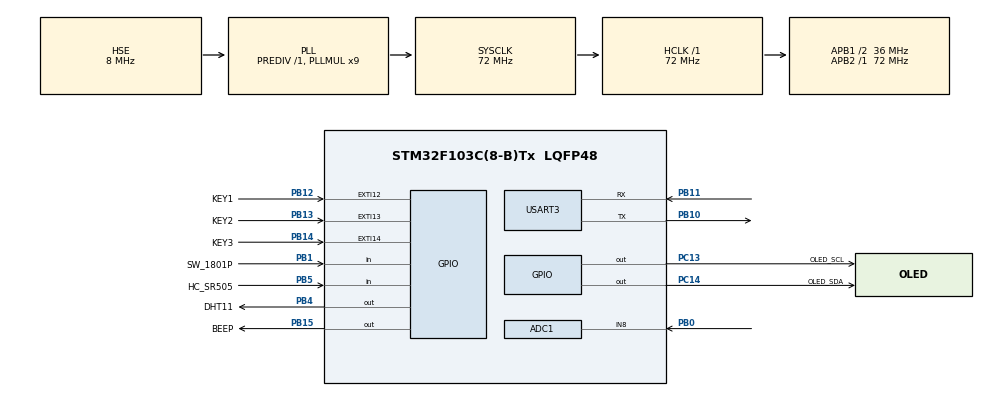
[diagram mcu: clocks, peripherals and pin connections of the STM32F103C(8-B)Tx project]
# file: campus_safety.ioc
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ADC1.Channel-0\#ChannelRegularConversion=ADC_CHANNEL_8
ADC1.ContinuousConvMode=ENABLE
ADC1.NbrOfConversionFlag=1
ADC1.Rank-0\#ChannelRegularConversion=1
ADC1.SamplingTime-0\#ChannelRegularConversion=ADC_SAMPLETIME_1CYCLE_5
ADC1.master=1
Mcu.Family=STM32F1
Mcu.Name=STM32F103C(8-B)Tx
Mcu.Package=LQFP48
NVIC.EXTI15_10_IRQn=true\:0\:0\:false\:false\:true\:true\:true\:true
NVIC.PriorityGroup=NVIC_PRIORITYGROUP_4
PA13.Mode=Serial_Wire
PA13.Signal=SYS_JTMS-SWDIO
PA14.Mode=Serial_Wire
PA14.Signal=SYS_JTCK-SWCLK
PB0.Signal=ADCx_IN8
PB1.GPIO_Label=SW_1801P
PB1.GPIO_Mode=GPIO_MODE_INPUT
PB1.GPIO_PuPd=GPIO_PULLUP
PB1.Signal=GPIO_Input
PB10.Mode=Asynchronous
PB10.Signal=USART3_TX
PB11.Mode=Asynchronous
PB11.Signal=USART3_RX
PB12.GPIO_Label=KEY1
PB12.GPIO_ModeDefaultEXTI=GPIO_MODE_IT_FALLING
PB12.GPIO_PuPd=GPIO_PULLUP
PB12.Signal=GPXTI12
PB13.GPIO_Label=KEY2
PB13.GPIO_ModeDefaultEXTI=GPIO_MODE_IT_FALLING
PB13.GPIO_PuPd=GPIO_PULLUP
PB13.Signal=GPXTI13
PB14.GPIO_Label=KEY3
PB14.GPIO_ModeDefaultEXTI=GPIO_MODE_IT_FALLING
PB14.GPIO_PuPd=GPIO_PULLUP
PB14.Signal=GPXTI14
PB15.GPIO_Label=BEEP
PB15.GPIO_PuPd=GPIO_PULLUP
PB15.GPIO_Speed=GPIO_SPEED_FREQ_HIGH
PB15.PinState=GPIO_PIN_SET
PB15.Signal=GPIO_Output
PB4.GPIO_Label=DHT11
PB4.GPIO_ModeDefaultOutputPP=GPIO_MODE_OUTPUT_PP
PB4.GPIO_PuPd=GPIO_PULLUP
PB4.GPIO_Speed=GPIO_SPEED_FREQ_HIGH
PB4.PinState=GPIO_PIN_SET
PB4.Signal=GPIO_Output
PB5.GPIO_Label=HC_SR505
PB5.GPIO_PuPd=GPIO_PULLDOWN
PB5.Signal=GPIO_Input
PC13-TAMPER-RTC.GPIO_Label=OLED_SCL
PC13-TAMPER-RTC.GPIO_PuPd=GPIO_PULLUP
PC13-TAMPER-RTC.GPIO_Speed=GPIO_SPEED_FREQ_HIGH
PC13-TAMPER-RTC.PinState=GPIO_PIN_SET
PC13-TAMPER-RTC.Signal=GPIO_Output
PC14-OSC32_IN.GPIO_Label=OLED_SDA
PC14-OSC32_IN.GPIO_ModeDefaultOutputPP=GPIO_MODE_OUTPUT_PP
PC14-OSC32_IN.GPIO_PuPd=GPIO_PULLUP
PC14-OSC32_IN.GPIO_Speed=GPIO_SPEED_FREQ_HIGH
PC14-OSC32_IN.PinState=GPIO_PIN_SET
PC14-OSC32_IN.Signal=GPIO_Output
PD0-OSC_IN.Mode=HSE-External-Oscillator
PD0-OSC_IN.Signal=RCC_OSC_IN
PD1-OSC_OUT.Mode=HSE-External-Oscillator
PD1-OSC_OUT.Signal=RCC_OSC_OUT
ProjectManager.HeapSize=0x200
ProjectManager.StackSize=0x400
ProjectManager.TargetToolchain=MDK-ARM V5.32
RCC.ADCPresc=RCC_ADCPCLK2_DIV6
RCC.AHBFreq_Value=72000000
RCC.APB1CLKDivider=RCC_HCLK_DIV2
RCC.APB1Freq_Value=36000000
RCC.APB1TimFreq_Value=72000000
RCC.APB2Freq_Value=72000000
RCC.APB2TimFreq_Value=72000000
RCC.HCLKFreq_Value=72000000
RCC.PLLMUL=RCC_PLL_MUL9
RCC.PLLSourceVirtual=RCC_PLLSOURCE_HSE
RCC.SYSCLKFreq_VALUE=72000000
RCC.SYSCLKSource=RCC_SYSCLKSOURCE_PLLCLK
RCC.USBFreq_Value=72000000
SH.ADCx_IN8.0=ADC1_IN8,IN8
USART3.VirtualMode=VM_ASYNC
board=custom

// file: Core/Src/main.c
/* USER CODE BEGIN Header */
/**
  ******************************************************************************
  * @file           : main.c
  * @brief          : Main program body
  ******************************************************************************
  * @attention
  *
  * Copyright (c) 2026 STMicroelectronics.
  * All rights reserved.
  *
  * This software is licensed under terms that can be found in the LICENSE file
  * in the root directory of this software component.
  * If no LICENSE file comes with this software, it is provided AS-IS.
  *
  ******************************************************************************
  */
/* USER CODE END Header */
#include "main.h"
#include "adc.h"
#include "usart.h"
#include "gpio.h"

/* USER CODE BEGIN Includes */
#include "oled.h"
#include "dht11.h"
#include "stm32f1xx_hal_flash.h"
/* USER CODE END Includes */

/* USER CODE BEGIN PD */
// Flash storage address (last page of Flash memory for STM32F103C8T6 - 64KB)
#define FLASH_STORAGE_ADDR  0x0800FC00
#define FLASH_MAGIC_NUMBER  0x12345678
/* USER CODE END PD */

/* USER CODE BEGIN PV */
uint32_t adc_value;
char show_data[20];
uint8_t hc_sr505_count = 0;
uint8_t people_detected = 0;
uint8_t vibration_detected = 0;
uint32_t vibration_start_time = 0;
uint8_t vibration_active = 0;
uint32_t beep_start_time = 0;
uint8_t beep_active = 0;
uint32_t dht11_read_time = 0;
uint32_t mq2_read_time = 0;

// Setting mode variables
uint8_t in_setting_mode = 0;
uint8_t setting_step = 0; // 0:temp, 1:humidity, 2:mq2, 3:back
uint8_t temp_threshold = 30;
uint8_t humidity_threshold = 100;
uint16_t mq2_threshold = 240;
uint8_t setting_first_entry = 1; // Flag for first entry into setting mode

// Vibration reset counter
uint8_t vibration_reset_count = 0;

// Vibration alert data for USART3
uint8_t vibration_alert_data[] = {0xFD, 0x00, 0x0A, 0x01, 0x01, 0xB7, 0xC7, 0xB7, 0xA8, 0xB4, 0xB3, 0xC8, 0xEB};
uint8_t vibration_sent = 0; // Flag to avoid duplicate sending

// MQ2 smoke alert data for USART3
uint8_t mq2_alert_data[] = {0xFD, 0x00, 0x12, 0x01, 0x01, 0xD1, 0xCC, 0xCE, 0xED, 0xB9, 0xFD, 0xB4, 0xF3, 0xA3, 0xAC, 0xC7, 0xEB, 0xD0, 0xA1, 0xD0, 0xC4};
uint8_t mq2_sent = 0; // Flag to avoid duplicate sending

// Temperature alert data for USART3
uint8_t temp_alert_data[] = {0xFD, 0x00, 0x0A, 0x01, 0x01, 0xCE, 0xC2, 0xB6, 0xC8, 0xB9, 0xFD, 0xB8, 0xDF};
uint8_t temp_alert_sent = 0; // Flag to avoid duplicate sending
uint32_t temp_alert_time = 0; // Time when temperature alert was sent

// Humidity alert data for USART3
uint8_t humidity_alert_data[] = {0xFD, 0x00, 0x0A, 0x01, 0x01, 0xCA, 0xAA, 0xB6, 0xC8, 0xB9, 0xFD, 0xB4, 0xF3};
uint8_t humidity_alert_sent = 0; // Flag to avoid duplicate sending
uint32_t humidity_alert_time = 0; // Time when humidity alert was sent
/* USER CODE END PV */

void SystemClock_Config(void);

/* USER CODE BEGIN 0 */

// Flash storage structure
typedef struct {
    uint32_t magic_number;
    uint8_t temp_threshold;
    uint8_t humidity_threshold;
    uint16_t mq2_threshold;
} FlashStorage_t;

// Function to erase Flash page
void Flash_Erase(void)
{
    HAL_FLASH_Unlock();

    FLASH_EraseInitTypeDef EraseInitStruct;
    uint32_t PageError;

    EraseInitStruct.TypeErase = FLASH_TYPEERASE_PAGES;
    EraseInitStruct.PageAddress = FLASH_STORAGE_ADDR;
    EraseInitStruct.NbPages = 1;

    HAL_FLASHEx_Erase(&EraseInitStruct, &PageError);

    HAL_FLASH_Lock();
}

// Function to write threshold data to Flash
void Flash_Write_Thresholds(void)
{
    Flash_Erase();

    HAL_FLASH_Unlock();

    FlashStorage_t storage;
    storage.magic_number = FLASH_MAGIC_NUMBER;
    storage.temp_threshold = temp_threshold;
    storage.humidity_threshold = humidity_threshold;
    storage.mq2_threshold = mq2_threshold;

    uint32_t* data_ptr = (uint32_t*)&storage;
    uint32_t address = FLASH_STORAGE_ADDR;

    for(int i = 0; i < sizeof(FlashStorage_t) / 4; i++)
    {
        HAL_FLASH_Program(FLASH_TYPEPROGRAM_WORD, address, *data_ptr);
        address += 4;
        data_ptr++;
    }

    HAL_FLASH_Lock();
}

// Function to read threshold data from Flash
void Flash_Read_Thresholds(void)
{
    FlashStorage_t* storage = (FlashStorage_t*)FLASH_STORAGE_ADDR;

    if(storage->magic_number == FLASH_MAGIC_NUMBER)
    {
        // Valid data found, load thresholds
        temp_threshold = storage->temp_threshold;
        humidity_threshold = storage->humidity_threshold;
        mq2_threshold = storage->mq2_threshold;
    }
    // If magic number doesn't match, use default values
}

#ifdef __cplusplus
extern "C" {
#endif

void UpdateSettingDisplay(void)
{
    // Only clear screen when entering setting mode for the first time
    if(setting_first_entry)
    {
        OLED_Clear();
        OLED_ShowString(30, 0, (uint8_t*)"Setting", 16, 1);
        setting_first_entry = 0;
    }

    // Update temp line
    if(setting_step == 0)
    {
        sprintf(show_data, "> temp %dC  ", temp_threshold);
        OLED_ShowString(0, 18, (uint8_t*)show_data, 8, 1);
    }
    else
    {
        sprintf(show_data, "  temp %dC  ", temp_threshold);
        OLED_ShowString(0, 18, (uint8_t*)show_data, 8, 1);
    }

    // Update humidity line
    if(setting_step == 1)
    {
        sprintf(show_data, "> humidity %dRH ", humidity_threshold);
        OLED_ShowString(0, 30, (uint8_t*)show_data, 8, 1);
    }
    else
    {
        sprintf(show_data, "  humidity %dRH ", humidity_threshold);
        OLED_ShowString(0, 30, (uint8_t*)show_data, 8, 1);
    }

    // Update MQ2 line
    if(setting_step == 2)
    {
        sprintf(show_data, "> MQ2 %d   ", mq2_threshold);
        OLED_ShowString(0, 40, (uint8_t*)show_data, 8, 1);
    }
    else
    {
        sprintf(show_data, "  MQ2 %d   ", mq2_threshold);
        OLED_ShowString(0, 40, (uint8_t*)show_data, 8, 1);
    }

    // Update Back line
    if(setting_step == 3)
    {
        OLED_ShowString(0, 50, (uint8_t*)"> Back    ", 8, 1);
    }
    else
    {
        OLED_ShowString(0, 50, (uint8_t*)"  Back    ", 8, 1);
    }

    OLED_Refresh();
}

void HAL_GPIO_EXTI_Callback(uint16_t GPIO_Pin)
{
    static uint32_t last_interrupt_time = 0;
    uint32_t current_time = HAL_GetTick();

    // Debounce: ignore interrupts within 200ms
    if(current_time - last_interrupt_time < 200)
    {
        return;
    }
    last_interrupt_time = current_time;

    if(GPIO_Pin == KEY1_Pin)
    {
        if(!in_setting_mode)
        {
            in_setting_mode = 1;
            setting_step = 0;
            setting_first_entry = 1;  // Set flag to clear screen on first entry
            UpdateSettingDisplay();
        }
        else
        {
            setting_step++;
            if(setting_step > 3)
            {
                // Exit setting mode
                in_setting_mode = 0;
                setting_step = 0;
                OLED_Clear();
                // Reset flag for next entry
                setting_first_entry = 1;
                // Save thresholds to Flash
                Flash_Write_Thresholds();
            }
            else
            {
                UpdateSettingDisplay();
            }
        }
    }
    else if(GPIO_Pin == KEY2_Pin && in_setting_mode)
    {
        if(setting_step == 0) // Temp setting
        {
            temp_threshold++;
            if(temp_threshold > 50)
            {
                temp_threshold = 15;
            }
            UpdateSettingDisplay();
        }
        else if(setting_step == 1) // Humidity setting
        {
            humidity_threshold++;
            if(humidity_threshold > 120)
            {
                humidity_threshold = 90;
            }
            UpdateSettingDisplay();
        }
        else if(setting_step == 2) // MQ2 setting
        {
            mq2_threshold++;
            if(mq2_threshold > 300)
            {
                mq2_threshold = 200;
            }
            UpdateSettingDisplay();
        }
    }
    else if(GPIO_Pin == KEY3_Pin && in_setting_mode)
    {
        if(setting_step == 0) // Temp setting
        {
            temp_threshold--;
            if(temp_threshold < 15)
            {
                temp_threshold = 50;
            }
            UpdateSettingDisplay();
        }
        else if(setting_step == 1) // Humidity setting
        {
            humidity_threshold--;
            if(humidity_threshold < 90)
            {
                humidity_threshold = 120;
            }
            UpdateSettingDisplay();
        }
        else if(setting_step == 2) // MQ2 setting
        {
            mq2_threshold--;
            if(mq2_threshold < 200)
            {
                mq2_threshold = 300;
            }
            UpdateSettingDisplay();
        }
    }
}

#ifdef __cplusplus
}
#endif
/* USER CODE END 0 */

int main(void)
{

  /* USER CODE BEGIN 1 */
	DHT11_Data_t dht_data;
  /* USER CODE END 1 */

  /* MCU Configuration--------------------------------------------------------*/

  /* Reset of all peripherals, Initializes the Flash interface and the Systick. */
  HAL_Init();

  /* Configure the system clock */
  SystemClock_Config();

  /* Initialize all configured peripherals */
  MX_GPIO_Init();
  MX_ADC1_Init();
  MX_USART3_UART_Init();
  /* USER CODE BEGIN 2 */
	OLED_Init();
	// Read thresholds from Flash
	Flash_Read_Thresholds();
//  OLED_ShowString(0,0,(uint8_t*)"hello",8,1);
//	OLED_Refresh();
  /* USER CODE END 2 */

  /* Infinite loop */
  while (1)
  {

    /* USER CODE BEGIN 3 */
	if (!in_setting_mode)
	{
		if(HAL_GetTick() - dht11_read_time >= 2000)
		{
			DHT11_READ_DATA(&dht_data);
			dht11_read_time = HAL_GetTick();

			// Check if temperature exceeds threshold
if(dht_data.temp_int > temp_threshold)
{
	if(!temp_alert_sent || (HAL_GetTick() - temp_alert_time >= 5000))
	{
		HAL_UART_Transmit(&huart3, temp_alert_data, sizeof(temp_alert_data), 100);
		temp_alert_sent = 1;
		temp_alert_time = HAL_GetTick();
	}
}
else
{
	temp_alert_sent = 0; // Reset flag when temperature drops below threshold
}

// Check if humidity exceeds threshold
if(dht_data.humidity_int > humidity_threshold)
{
	if(!humidity_alert_sent || (HAL_GetTick() - humidity_alert_time >= 5000))
	{
		HAL_UART_Transmit(&huart3, humidity_alert_data, sizeof(humidity_alert_data), 100);
		humidity_alert_sent = 1;
		humidity_alert_time = HAL_GetTick();
	}
}
else
{
	humidity_alert_sent = 0; // Reset flag when humidity drops below threshold
}
		}

		if(HAL_GetTick() - mq2_read_time >= 500)
		{
			HAL_ADC_Start(&hadc1);
			HAL_ADC_PollForConversion(&hadc1, 100);
			adc_value = HAL_ADC_GetValue(&hadc1);
			HAL_ADC_Stop(&hadc1);
			mq2_read_time = HAL_GetTick();

			// Check if MQ2 exceeds threshold
			if(adc_value > mq2_threshold)
			{
				if(!mq2_sent)
				{
					HAL_UART_Transmit(&huart3, mq2_alert_data, sizeof(mq2_alert_data), 100);
					mq2_sent = 1;
				}
			}
			else
			{
				mq2_sent = 0; // Reset flag when value drops below threshold
			}
		}

		sprintf(show_data, "T:%d.%dC H:%d.%d%%", dht_data.temp_int, dht_data.temp_dec, dht_data.humidity_int, dht_data.humidity_dec);
		OLED_ShowString(0, 0, (uint8_t*)show_data, 8, 1);

		sprintf(show_data, "MQ2:%lu   ", adc_value);
		OLED_ShowString(0, 10, (uint8_t*)show_data, 8, 1);

		if(HAL_GPIO_ReadPin(HC_SR505_GPIO_Port, HC_SR505_Pin) == GPIO_PIN_SET)
		{
			hc_sr505_count++;
			if(hc_sr505_count >= 10)
			{
				people_detected = 1;
			}
		}
		else
		{
			hc_sr505_count = 0;
			people_detected = 0;
		}

		if(people_detected)
		{
			OLED_ShowString(0, 20, (uint8_t*)"People:Yes", 8, 1);
		}
		else
		{
			OLED_ShowString(0, 20, (uint8_t*)"People:No ", 8, 1);
		}

		if(HAL_GPIO_ReadPin(SW_1801P_GPIO_Port, SW_1801P_Pin) == GPIO_PIN_RESET)
		{
			vibration_detected = 1;
			if(!vibration_active)
			{
				vibration_active = 1;
				vibration_start_time = HAL_GetTick();
				// Send vibration alert via USART3
				if(!vibration_sent)
				{
					HAL_UART_Transmit(&huart3, vibration_alert_data, sizeof(vibration_alert_data), 100);
					vibration_sent = 1;
				}
			}
		}
		else
		{
			vibration_detected = 0;
			// Reset flag when vibration ends (pin goes high)
			if(vibration_sent)
			{
				vibration_reset_count++;
				if(vibration_reset_count >= 10) // Only reset after 10 consecutive high readings (1 second)
				{
					vibration_sent = 0;
					vibration_reset_count = 0;
				}
			}
			else
			{
				vibration_reset_count = 0; // Reset counter if flag already cleared
			}
		}

		if(vibration_active)
		{
			if(HAL_GetTick() - vibration_start_time >= 3000)
			{
				vibration_active = 0;
			}
		}

		if(vibration_active)
		{
			OLED_ShowString(0, 30, (uint8_t*)"Vibr:Yes", 8, 1);
		}
		else
		{
			OLED_ShowString(0, 30, (uint8_t*)"Vibr:No ", 8, 1);
		}

		if(people_detected && !beep_active)
		{
			HAL_GPIO_WritePin(BEEP_GPIO_Port, BEEP_Pin, GPIO_PIN_RESET);
			beep_active = 1;
			beep_start_time = HAL_GetTick();
		}

		if(beep_active)
		{
			if(HAL_GetTick() - beep_start_time >= 5000)
			{
				HAL_GPIO_WritePin(BEEP_GPIO_Port, BEEP_Pin, GPIO_PIN_SET);
				beep_active = 0;
			}
		}

		OLED_Refresh();

		HAL_Delay(100);
	}
	else
	{
		// In setting mode, just refresh display
		HAL_Delay(100);
	}
  }
  /* USER CODE END 3 */
}

void SystemClock_Config(void)
{
  RCC_OscInitTypeDef RCC_OscInitStruct = {0};
  RCC_ClkInitTypeDef RCC_ClkInitStruct = {0};
  RCC_PeriphCLKInitTypeDef PeriphClkInit = {0};

  /** Initializes the RCC Oscillators according to the specified parameters
  * in the RCC_OscInitTypeDef structure.
  */
  RCC_OscInitStruct.OscillatorType = RCC_OSCILLATORTYPE_HSE;
  RCC_OscInitStruct.HSEState = RCC_HSE_ON;
  RCC_OscInitStruct.HSEPredivValue = RCC_HSE_PREDIV_DIV1;
  RCC_OscInitStruct.HSIState = RCC_HSI_ON;
  RCC_OscInitStruct.PLL.PLLState = RCC_PLL_ON;
  RCC_OscInitStruct.PLL.PLLSource = RCC_PLLSOURCE_HSE;
  RCC_OscInitStruct.PLL.PLLMUL = RCC_PLL_MUL9;
  if (HAL_RCC_OscConfig(&RCC_OscInitStruct) != HAL_OK)
  {
    Error_Handler();
  }

  /** Initializes the CPU, AHB and APB buses clocks
  */
  RCC_ClkInitStruct.ClockType = RCC_CLOCKTYPE_HCLK|RCC_CLOCKTYPE_SYSCLK
                              |RCC_CLOCKTYPE_PCLK1|RCC_CLOCKTYPE_PCLK2;
  RCC_ClkInitStruct.SYSCLKSource = RCC_SYSCLKSOURCE_PLLCLK;
  RCC_ClkInitStruct.AHBCLKDivider = RCC_SYSCLK_DIV1;
  RCC_ClkInitStruct.APB1CLKDivider = RCC_HCLK_DIV2;
  RCC_ClkInitStruct.APB2CLKDivider = RCC_HCLK_DIV1;

  if (HAL_RCC_ClockConfig(&RCC_ClkInitStruct, FLASH_LATENCY_2) != HAL_OK)
  {
    Error_Handler();
  }
  PeriphClkInit.PeriphClockSelection = RCC_PERIPHCLK_ADC;
  PeriphClkInit.AdcClockSelection = RCC_ADCPCLK2_DIV6;
  if (HAL_RCCEx_PeriphCLKConfig(&PeriphClkInit) != HAL_OK)
  {
    Error_Handler();
  }
}

void Error_Handler(void)
{
  __disable_irq();
  while (1)
  {
  }
}
